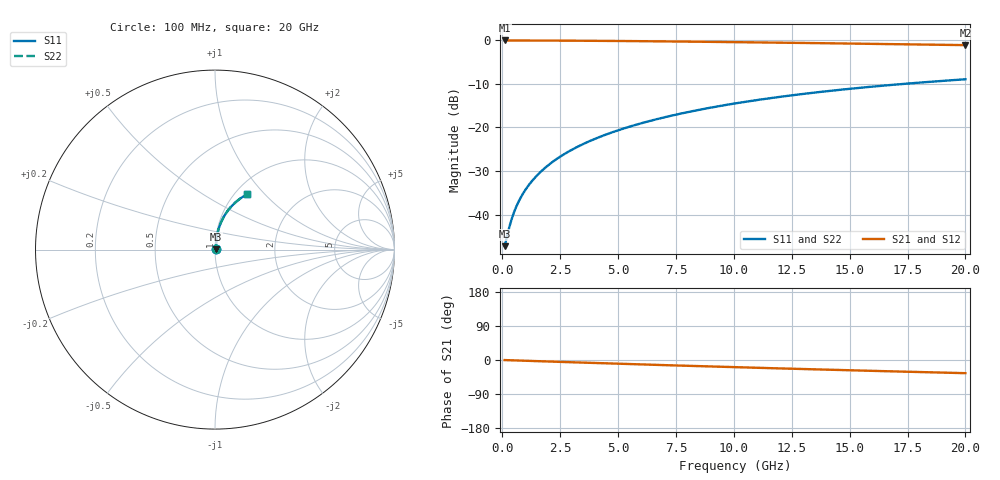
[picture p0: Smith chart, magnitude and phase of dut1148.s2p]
! Touchstone file exported from HFSS 2024.1.0
!  File:  C:/UserFiles/LocalFiles/RDL_TSV_Batchsim/temp_RDL_bottom_1148_1780055927.aedt
!  Generated:  08:01:20 PM May 29, 2026
!  Design:  RDL_bottom
!  Project:  temp_RDL_bottom_1148_1780055927
!  Setup:  Setup1
!  Solution:  Sweep
! Variables:
!  dtsv = 10.80580581um
!  hbump = 3um
!  htsv = 93.12um
!  ldown = 466.07um
!  lrdl = 100um
!  p = 40
!  p1 = 43.94um
!  rhole = 1um
!  t = 450um
!  tdown = 2.61um
!  trdl = 3.915915916um
!  wdown = 17.38um
!  wrdl = 20um
# GHz S MA R 50.000000
! Terminal data exported
! Port[1] = RDL1_T1
! Port[2] = RDL1_T2
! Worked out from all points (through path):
!   200 points, 100 MHz to 20 GHz, reference 50 ohm
!   highest |S21| = -0.03 dB at 100 MHz (marker M1); lowest = -1.1 dB at 20 GHz (marker M2)
!   group delay of S21, straight-line fit = 4.81 ps
!   lowest |S11| = -47.3 dB at 100 MHz (marker M3), VSWR 1.01, Z = 50.4 + j0.199 ohm
!   |S11| at or under -10 dB: start of sweep to 17.35 GHz
!   |S22| runs from -47.3 to -8.9 dB; largest |S21 - S12| = 3.3e-15
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0.1  0.004331 27.2  0.9961 -0.2  0.9961 -0.2  0.004331 27.2
! Gamma 0 0 0 0
! Port Impedance 50 0 50 0
0.3  0.007118 55.3  0.9959 -0.6  0.9959 -0.6  0.007118 55.3
0.4  0.008792 61.6  0.9958 -0.8  0.9958 -0.8  0.008792 61.6
0.5  0.01051 65.7  0.9956 -1.0  0.9956 -1.0  0.01051 65.7
0.6  0.01224 68.6  0.9955 -1.2  0.9955 -1.2  0.01224 68.6
0.7  0.01398 70.9  0.9953 -1.4  0.9953 -1.4  0.01398 70.9
0.9  0.01748 74.0  0.995 -1.8  0.995 -1.8  0.01748 74.0
1.2  0.02277 76.9  0.9945 -2.4  0.9945 -2.4  0.02277 76.9
1.4  0.02632 78.2  0.9942 -2.8  0.9942 -2.8  0.02632 78.2
1.7  0.03169 79.6  0.9936 -3.4  0.9936 -3.4  0.03169 79.6
2.2  0.04072 80.9  0.9925 -4.4  0.9925 -4.4  0.04072 80.9
2.8  0.05167 81.6  0.9909 -5.6  0.9909 -5.6  0.05167 81.6
3.5  0.06458 81.9  0.9887 -6.9  0.9887 -6.9  0.06458 81.9
4.2  0.07761 81.7  0.986 -8.3  0.986 -8.3  0.07761 81.7
5  0.09264 81.3  0.9825 -9.8  0.9825 -9.8  0.09264 81.2
5.9  0.1097 80.5  0.9781 -11.5  0.9781 -11.5  0.1097 80.5
6.8  0.1268 79.5  0.9732 -13.1  0.9732 -13.1  0.1268 79.5
8.4  0.1573 77.5  0.9637 -16.0  0.9637 -16.0  0.1573 77.5
10.1  0.1894 75.0  0.9528 -19.0  0.9528 -19.0  0.1893 75.0
13.4  0.2496 69.9  0.9298 -24.5  0.9298 -24.5  0.2496 69.9
16.7  0.3058 64.8  0.9055 -29.8  0.9055 -29.8  0.3057 64.8
20  0.3569 59.8  0.8806 -34.8  0.8806 -34.8  0.3569 59.8
